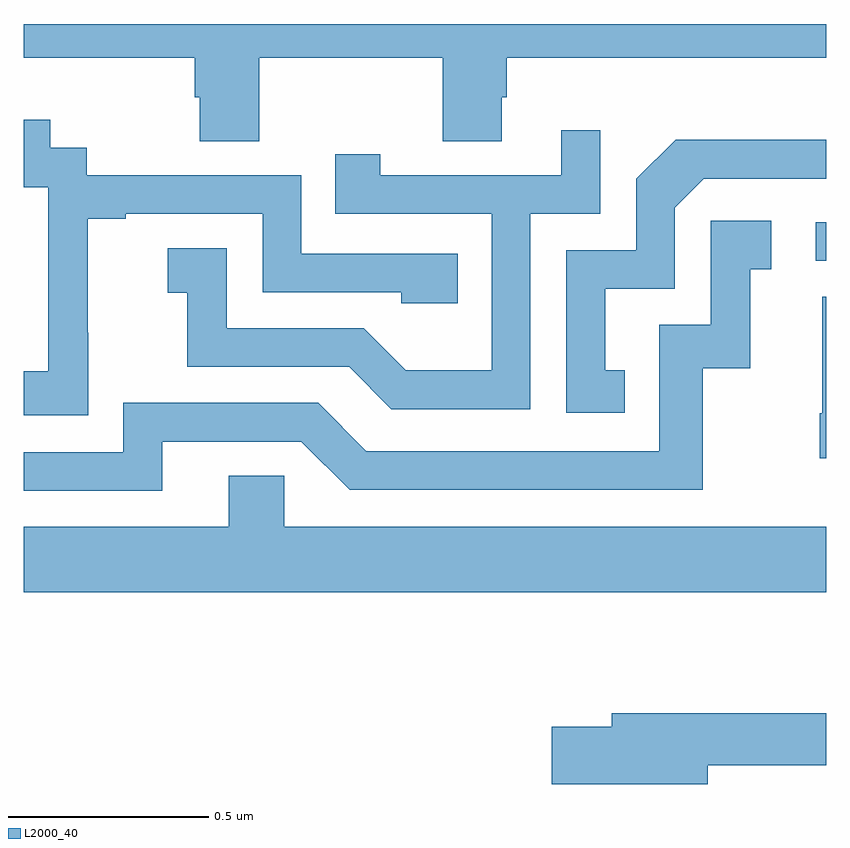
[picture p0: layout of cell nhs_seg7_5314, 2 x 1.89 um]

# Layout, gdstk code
import gdstk
lib = gdstk.Library(unit=1e-6, precision=1e-09)
def R(c, l, rs):  # rectangles x0, y0, x1, y1
    for r in rs: c.add(gdstk.rectangle(r[:2], r[2:], *l))
def P(c, l, *ps):  # polygons
    for p in ps: c.add(gdstk.Polygon(p, *l))
L2000_40 = (2000, 40)

nhs_seg7_5314 = lib.new_cell('nhs_seg7_5314')
R(nhs_seg7_5314, L2000_40, [(185.973,1033.41,186,1033.506)])
P(nhs_seg7_5314, L2000_40, [(184.587,1033.916),(185.044,1033.916),(185.044,1033.708),(185.191,1033.708),(185.191,1033.818),(185.204,1033.818),(185.204,1033.916),(186,1033.916),(186,1034),(184,1034),(184,1033.916),(184.427,1033.916),(184.427,1033.818),(184.439,1033.818),(184.439,1033.708),(184.587,1033.708)],
  [(184.161,1033.231),(184.16,1033.231),(184.16,1033.515),(184.255,1033.515),(184.255,1033.527),(184.596,1033.527),(184.596,1033.332),(184.941,1033.332),(184.941,1033.305),(185.081,1033.305),(185.081,1033.428),(184.692,1033.428),(184.692,1033.623),(184.158,1033.623),(184.158,1033.692),(184.066,1033.692),(184.066,1033.762),(184,1033.762),(184,1033.593),(184.062,1033.593),(184.062,1033.364),(184.061,1033.364),(184.061,1033.135),(184,1033.135),(184,1033.025),(184.161,1033.025)],
  [(185.262,1033.527),(185.436,1033.527),(185.436,1033.735),(185.339,1033.735),(185.339,1033.623),(184.888,1033.623),(184.888,1033.675),(184.777,1033.675),(184.777,1033.527),(185.166,1033.527),(185.166,1033.138),(184.952,1033.138),(184.848,1033.242),(184.506,1033.242),(184.506,1033.441),(184.359,1033.441),(184.359,1033.331),(184.408,1033.331),(184.408,1033.146),(184.811,1033.146),(184.916,1033.041),(185.262,1033.041)],
  [(185.498,1033.137),(185.449,1033.137),(185.449,1033.341),(185.622,1033.341),(185.622,1033.542),(185.694,1033.614),(186,1033.614),(186,1033.712),(185.624,1033.712),(185.526,1033.614),(185.526,1033.437),(185.352,1033.437),(185.352,1033.032),(185.498,1033.032)],
  [(184.345,1032.96),(184.692,1032.96),(184.812,1032.84),(185.692,1032.84),(185.692,1033.143),(185.81,1033.143),(185.81,1033.389),(185.863,1033.389),(185.863,1033.51),(185.712,1033.51),(185.712,1033.251),(185.583,1033.251),(185.583,1032.936),(184.854,1032.936),(184.734,1033.056),(184.248,1033.056),(184.248,1032.933),(184,1032.933),(184,1032.837),(184.345,1032.837)],
  [(186,1033.321),(185.99,1033.321),(185.99,1033.03),(185.983,1033.03),(185.983,1032.918),(186,1032.918)],
  [(186,1032.748),(184.65,1032.748),(184.65,1032.875),(184.511,1032.875),(184.511,1032.748),(184,1032.748),(184,1032.584),(186,1032.584)],
  [(185.704,1032.154),(186,1032.154),(186,1032.283),(185.465,1032.283),(185.465,1032.249),(185.316,1032.249),(185.316,1032.107),(185.704,1032.107)])

lib.write_gds('nhs_seg7_5314.gds')
